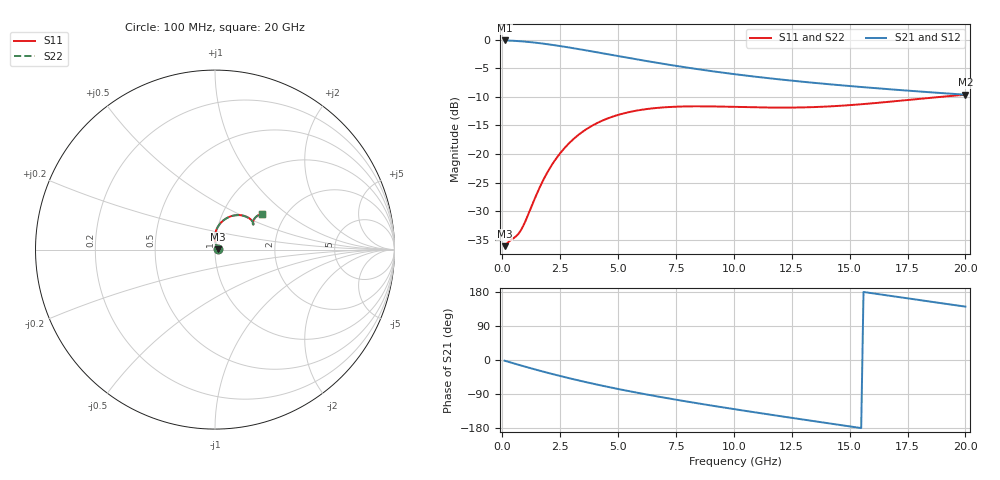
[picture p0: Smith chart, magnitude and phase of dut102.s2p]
! Touchstone file exported from HFSS 2024.1.0
!  File:  C:/UserFiles/LocalFiles/RDL_TSV_Batchsim/temp_RDL_TSV_102_1779420006.aedt
!  Generated:  11:41:15 AM May 22, 2026
!  Design:  RDL_TSV
!  Project:  temp_RDL_TSV_102_1779420006
!  Setup:  Setup1
!  Solution:  Sweep
! Variables:
!  dtsv = 7.8um
!  hbump = 3um
!  htsv = 93.63um
!  ldown = 586.42um
!  lrdl = 308um
!  p = 40
!  p1 = 45.86um
!  rhole = 10um
!  subl = 2991.26um
!  t = 450um
!  tdown = 3.47um
!  trdl = 4.91um
!  viad = 10um
!  wdown = 24.67um
!  wrdl = 12.8um
!  xbump = 18um
# GHz S MA R 50.000000
! Terminal data exported
! Port[1] = TM1_1_T1
! Port[2] = TM1_4_T1
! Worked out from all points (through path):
!   200 points, 100 MHz to 20 GHz, reference 50 ohm
!   highest |S21| = -0.14 dB at 100 MHz (marker M1); lowest = -9.6 dB at 20 GHz (marker M2)
!   group delay of S21, straight-line fit = 28.8 ps
!   lowest |S11| = -36.1 dB at 100 MHz (marker M3), VSWR 1.03, Z = 51.6 + j0.279 ohm
!   |S11| at or under -10 dB: start of sweep to 18.93 GHz
!   |S22| runs from -36.1 to -9.6 dB; largest |S21 - S12| = 1.2e-14
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0.1  0.01566 9.9  0.9842 -1.9  0.9842 -1.9  0.01566 9.9
! Gamma 0 0 0 0
! Port Impedance 50 0 50 0
0.6  0.01915 43.8  0.9745 -10.9  0.9745 -10.9  0.01915 43.8
0.8  0.02154 58.4  0.9683 -14.4  0.9683 -14.4  0.02154 58.3
1  0.02594 71.3  0.9609 -17.8  0.9609 -17.8  0.02592 71.2
1.3  0.03637 83.9  0.9478 -23.0  0.9478 -23.0  0.03632 83.7
1.8  0.06089 90.6  0.9216 -31.3  0.9216 -31.3  0.06077 90.5
2.2  0.08384 89.7  0.8979 -37.6  0.8979 -37.6  0.08365 89.6
2.6  0.1077 86.5  0.8728 -43.8  0.8728 -43.8  0.1074 86.4
3  0.1311 82.3  0.8469 -49.7  0.8469 -49.7  0.1308 82.2
3.5  0.1583 76.5  0.8141 -56.8  0.8141 -56.8  0.158 76.5
4.2  0.1911 68.6  0.7688 -66.3  0.7688 -66.3  0.1907 68.5
4.9  0.2168 61.2  0.7253 -75.3  0.7253 -75.3  0.2163 61.2
5.8  0.2398 53.1  0.6735 -86.1  0.6735 -86.1  0.2392 53.1
6.8  0.2544 45.8  0.6221 -97.3  0.6221 -97.3  0.2537 45.8
8.4  0.2615 37.9  0.5538 -114.0  0.5538 -114.0  0.2607 37.9
10.1  0.2583 33.8  0.4973 -130.5  0.4973 -130.5  0.2575 33.8
11.7  0.2548 33.2  0.4557 -145.4  0.4557 -145.4  0.254 33.3
13.4  0.2572 34.8  0.4205 -160.9  0.4205 -160.9  0.2564 35.0
15  0.2676 36.9  0.3933 -175.2  0.3933 -175.2  0.2671 37.1
16.7  0.2864 38.3  0.3688 169.7  0.3688 169.7  0.286 38.5
18.4  0.309 38.3  0.3477 154.8  0.3477 154.8  0.3088 38.5
20  0.3301 37.2  0.3304 140.9  0.3304 140.9  0.3301 37.4
